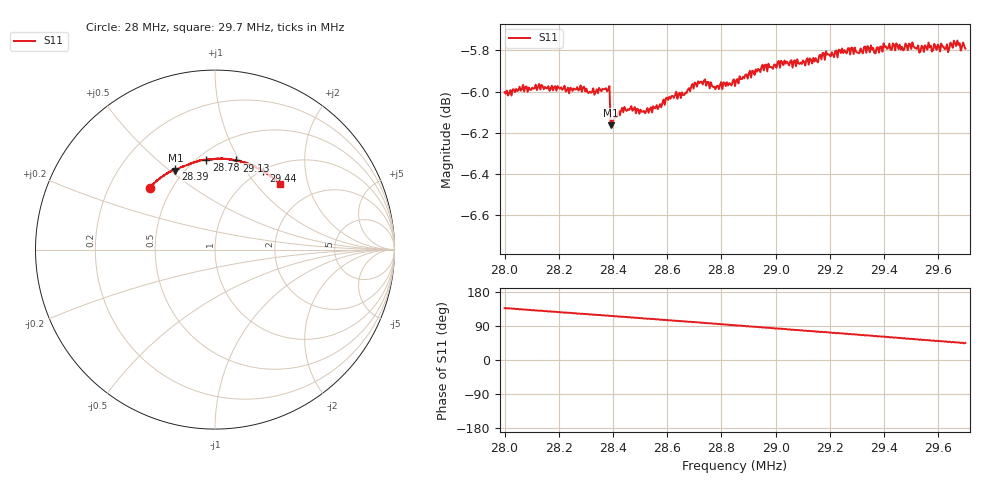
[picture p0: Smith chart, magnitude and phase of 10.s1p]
# Hz S RI R 50
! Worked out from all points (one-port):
!   401 points, 28 MHz to 29.7 MHz, reference 50 ohm
!   lowest |S11| = -6.2 dB at 28.39 MHz (marker M1), VSWR 2.94, Z = 22.5 + j26.1 ohm
!   |S11| at or under -10 dB: nowhere
!   S11 on the Smith chart (normalised r, x): 28 MHz: 0.38, +0.35; 28.39 MHz: 0.44, +0.53; 28.78 MHz: 0.55, +0.74; 29.13 MHz: 0.72, +0.97; 29.44 MHz: 1.01, +1.21; 29.7 MHz: 1.37, +1.35
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2.8e7  -0.3643 0.344
2.802125e7  -0.3592 0.3501
2.8085e7  -0.3401 0.368
2.82125e7  -0.2946 0.4061
2.837825e7  -0.2305 0.4451
2.838675e7  -0.2217 0.4512
2.8391e7  -0.2204 0.4396
2.83995e7  -0.2174 0.4425
2.8425e7  -0.2075 0.4489
2.845475e7  -0.1915 0.4578
2.85185e7  -0.1672 0.466
2.853975e7  -0.1551 0.4719
2.86375e7  -0.1166 0.4854
2.8731e7  -0.0748 0.4976
2.8782e7  -0.0483 0.5004
2.885e7  -0.0167 0.5024
2.895625e7  0.034 0.506
2.90625e7  0.0861 0.5006
2.912625e7  0.1191 0.4965
2.91815e7  0.1418 0.49
2.9275e7  0.1853 0.4769
2.94365e7  0.2685 0.4389
2.94875e7  0.2805 0.4294
2.9564e7  0.3171 0.406
2.96405e7  0.3417 0.3831
2.966175e7  0.3546 0.3733
2.968725e7  0.3591 0.3676
2.97e7  0.3627 0.3633
